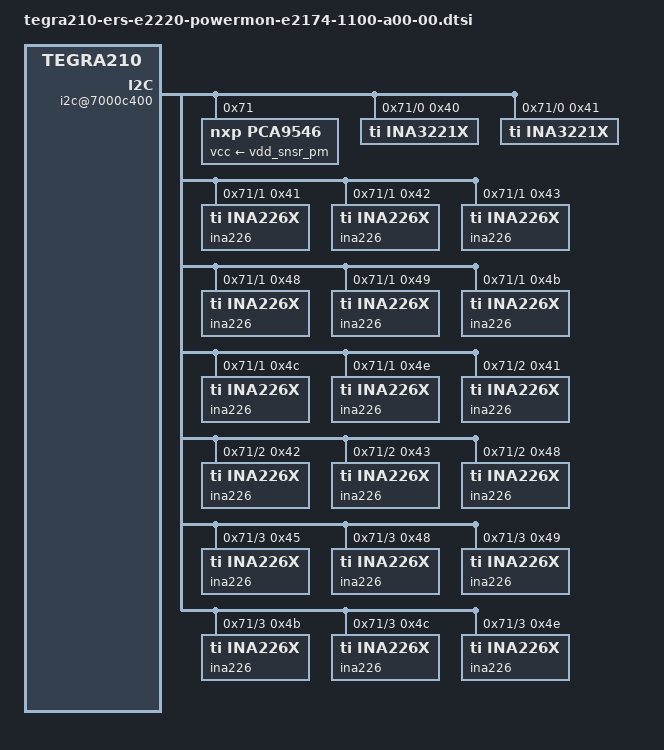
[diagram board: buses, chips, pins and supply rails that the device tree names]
/*
 * Copyright (c) 2014, NVIDIA CORPORATION.  All rights reserved.
 *
 * This program is free software; you can redistribute it and/or modify
 * it under the terms of the GNU General Public License as published by
 * the Free Software Foundation; either version 2 of the License, or
 * (at your option) any later version.
 *
 * This program is distributed in the hope that it will be useful, but WITHOUT
 * ANY WARRANTY; without even the implied warranty of MERCHANTABILITY or
 * FITNESS FOR A PARTICULAR PURPOSE.  See the GNU General Public License for
 * more details.
 *
 * You should have received a copy of the GNU General Public License along
 * with this program; if not, write to the Free Software Foundation, Inc.,
 * 51 Franklin Street, Fifth Floor, Boston, MA  02110-1301, USA.
 */
/ {
	i2c@7000c400 {
		pca9546@71 {
			compatible = "nxp,pca9546";
			reg = <0x71>;
			#address-cells = <1>;
			#size-cells = <0>;
			vcc-supply = <&vdd_snsr_pm>;
			i2c@0 {
				reg = <0>;
				i2c-mux,deselect-on-exit;
				#address-cells = <1>;
				#size-cells = <0>;
				ina3221x@40 {
					compatible = "ti,ina3221x";
					reg = <0x40>;
					ti,trigger-config = <0x7003>;
					ti,continuous-config = <0x7c07>;
					#address-cells = <1>;
					#size-cells = <0>;
					channel@0 {
						reg = <0x0>;
						ti,rail-name = "VDD_BAT";
						ti,shunt-resistor-mohm = <5>;
					};

					channel@1 {
						reg = <0x1>;
						ti,rail-name = "VDD_5V0";
						ti,shunt-resistor-mohm = <20>;
					};

					channel@2 {
						reg = <0x2>;
						ti,rail-name = "VDD_SYS_MDM";
						ti,shunt-resistor-mohm = <1>;
					};
				};

				ina3221x@41 {
					compatible = "ti,ina3221x";
					reg = <0x41>;
					ti,trigger-config = <0x7003>;
					ti,continuous-config = <0x7c07>;
					#address-cells = <1>;
					#size-cells = <0>;
					channel@0 {
						reg = <0x0>;
						ti,rail-name = "VDD_GPU";
						ti,shunt-resistor-mohm = <1>;
					};

					channel@1 {
						reg = <0x1>;
						ti,rail-name = "VDD_SOC";
						ti,shunt-resistor-mohm = <1>;
					};

					channel@2 {
						reg = <0x2>;
						ti,rail-name = "VDD_CPU";
						ti,shunt-resistor-mohm = <1>;
					};
				};
			};

			i2c@1 {
				reg = <1>;
				i2c-mux,deselect-on-exit;
				#address-cells = <1>;
				#size-cells = <0>;

				ina226@41 {
					compatible = "ti,ina226x";
					reg = <0x41>;
					ti,rail-name = "VDD_BAT_CHG";
					ti,continuous-config = <0x0407>;
					ti,trigger-config = <0x0403>;
					ti,resistor = <5>;
					ti,calibration-data = <0x0BEA>;
					ti,power-lsb = <8393>;
					ti,divisor = <25>;
					ti,precision-multiplier = <1000>;
				};
				ina226@42 {
					compatible = "ti,ina226x";
					reg = <0x42>;
					ti,rail-name = "VDD_SYS_CPU_OVR";
					ti,continuous-config = <0x0407>;
					ti,trigger-config = <0x0403>;
					ti,resistor = <5>;
					ti,calibration-data = <0x13DC>;
					ti,power-lsb = <5035>;
					ti,divisor = <25>;
					ti,precision-multiplier = <1000>;
				};
				ina226@43 {
					compatible = "ti,ina226x";
					reg = <0x43>;
					ti,rail-name = "VDD_SYS_GPU_OVR";
					ti,continuous-config = <0x0407>;
					ti,trigger-config = <0x0403>;
					ti,resistor = <5>;
					ti,calibration-data = <0x1D20>;
					ti,power-lsb = <3433>;
					ti,divisor = <25>;
					ti,precision-multiplier = <1000>;
				};
				ina226@48 {
					compatible = "ti,ina226x";
					reg = <0x48>;
					ti,rail-name = "VDD_SOC";
					ti,continuous-config = <0x0407>;
					ti,trigger-config = <0x0403>;
					ti,resistor = <5>;
					ti,calibration-data = <0x48D1>;
					ti,power-lsb = <1373>;
					ti,divisor = <25>;
					ti,precision-multiplier = <1000>;
				};
				ina226@49 {
					compatible = "ti,ina226x";
					reg = <0x49>;
					ti,rail-name = "VDD_SYS_SD1";
					ti,continuous-config = <0x0407>;
					ti,trigger-config = <0x0403>;
					ti,resistor = <5>;
					ti,calibration-data = <0x51EB>;
					ti,power-lsb = <1220>;
					ti,divisor = <25>;
					ti,precision-multiplier = <1000>;
				};
				ina226@4b {
					compatible = "ti,ina226x";
					reg = <0x4B>;
					ti,rail-name = "VDD_SYS_MDM1";
					ti,continuous-config = <0x0407>;
					ti,trigger-config = <0x0403>;
					ti,resistor = <1>;
					ti,calibration-data = <0x7FFF>;
					ti,power-lsb = <1581>;
					ti,divisor = <25>;
					ti,precision-multiplier = <1000>;
				};
				ina226@4c {
					compatible = "ti,ina226x";
					reg = <0x4C>;
					ti,rail-name = "VDD_SYS_BL_1S";
					ti,continuous-config = <0x0407>;
					ti,trigger-config = <0x0403>;
					ti,resistor = <10>;
					ti,calibration-data = <0x20C4>;
					ti,power-lsb = <1525>;
					ti,divisor = <25>;
					ti,precision-multiplier = <1000>;
				};
				ina226@4e {
					compatible = "ti,ina226x";
					reg = <0x4E>;
					ti,rail-name = "VDD_SYS_COM";
					ti,continuous-config = <0x0407>;
					ti,trigger-config = <0x0403>;
					ti,resistor = <100>;
					ti,calibration-data = <0x4040>;
					ti,power-lsb = <77>;
					ti,divisor = <25>;
					ti,precision-multiplier = <1000>;

				};
			};

			i2c@2 {
				reg = <2>;
				i2c-mux,deselect-on-exit;
				#address-cells = <1>;
				#size-cells = <0>;
				ina226@41 {
					compatible = "ti,ina226x";
					reg = <0x41>;
					ti,rail-name = "VDD_RTC_AP";
					ti,continuous-config = <0x0407>;
					ti,trigger-config = <0x0403>;
					ti,resistor = <100>;
					ti,calibration-data = <0x7FFF>;
					ti,power-lsb = <38>;
					ti,divisor = <25>;
					ti,precision-multiplier = <1000>;
				};
				ina226@42 {
					compatible = "ti,ina226x";
					reg = <0x42>;
					ti,rail-name = "VDD_GEN_PLL_EDP_1V05";
					ti,continuous-config = <0x0407>;
					ti,trigger-config = <0x0403>;
					ti,resistor = <50>;
					ti,calibration-data = <0x1D20>;
					ti,power-lsb = <343>;
					ti,divisor = <25>;
					ti,precision-multiplier = <1000>;
				};
				ina226@43 {
					compatible = "ti,ina226x";
					reg = <0x43>;
					ti,rail-name = "VDD_DIS_3V3_LCD";
					ti,continuous-config = <0x0407>;
					ti,trigger-config = <0x0403>;
					ti,resistor = <10>;
					ti,calibration-data = <0x7FFF>;
					ti,power-lsb = <213>;
					ti,divisor = <25>;
					ti,precision-multiplier = <1000>;
				};
				ina226@48 {
					compatible = "ti,ina226x";
					reg = <0x48>;
					ti,rail-name = "VDD_LCD_1V8_DIS";
					ti,continuous-config = <0x0407>;
					ti,trigger-config = <0x0403>;
					ti,resistor = <100>;
					ti,calibration-data = <0x7FFF>;
					ti,power-lsb = <38>;
					ti,divisor = <25>;
					ti,precision-multiplier = <1000>;
				};
			};

			i2c@3 {
				reg = <3>;
				i2c-mux,deselect-on-exit;
				#address-cells = <1>;
				#size-cells = <0>;

				ina226@45 {
					compatible = "ti,ina226x";
					reg = <0x45>;
					ti,rail-name = "VDD_DDR";
					ti,continuous-config = <0x0407>;
					ti,trigger-config = <0x0403>;
					ti,calibration-data = <0x7FFF>;
					ti,resistor = <1>;
					ti,power-lsb = <1295>;
					ti,divisor = <25>;
					ti,precision-multiplier = <1000>;
				};
				ina226@48 {
					compatible = "ti,ina226x";
					reg = <0x48>;
					ti,rail-name = "VDD_GPU";
					ti,continuous-config = <0x0407>;
					ti,trigger-config = <0x0403>;
					ti,calibration-data = <0x268C>;
					ti,resistor = <1>;
					ti,power-lsb = <1296>;
					ti,divisor = <25>;
					ti,precision-multiplier = <10000>;
				};
				ina226@49 {
					compatible = "ti,ina226x";
					reg = <0x49>;
					ti,rail-name = "VDD_SOC_AP";
					ti,continuous-config = <0x0407>;
					ti,trigger-config = <0x0403>;
					ti,resistor = <1>;
					ti,calibration-data = <0x7FFF>;
					ti,power-lsb = <3051>;
					ti,divisor = <25>;
					ti,precision-multiplier = <1000>;
				};
				ina226@4b {
					compatible = "ti,ina226x";
					reg = <0x4b>;
					ti,rail-name = "VDD_CPU_AP";
					ti,continuous-config = <0x0407>;
					ti,trigger-config = <0x0403>;
					ti,calibration-data = <0x3548>;
					ti,resistor = <1>;
					ti,power-lsb = <9384>;
					ti,divisor = <25>;
					ti,precision-multiplier = <1000>;
				};
				ina226@4c {
					compatible = "ti,ina226x";
					reg = <0x4c>;
					ti,rail-name = "VDD_PMU_1V8";
					ti,continuous-config = <0x0407>;
					ti,trigger-config = <0x0403>;
					ti,resistor = <5>;
					ti,calibration-data = <0x4189>;
					ti,power-lsb = <1525>;
					ti,divisor = <25>;
					ti,precision-multiplier = <1000>;
				};
				ina226@4e {
					compatible = "ti,ina226x";
					reg = <0x4e>;
					ti,rail-name = "AVDD_1V05_GEN_PLL";
					ti,continuous-config = <0x0407>;
					ti,trigger-config = <0x0403>;
					ti,resistor = <30>;
					ti,calibration-data = <0x7FFF>;
					ti,power-lsb = <6>;
					ti,divisor = <25>;
					ti,precision-multiplier = <1000>;
				};
			};
		};
	};
};
